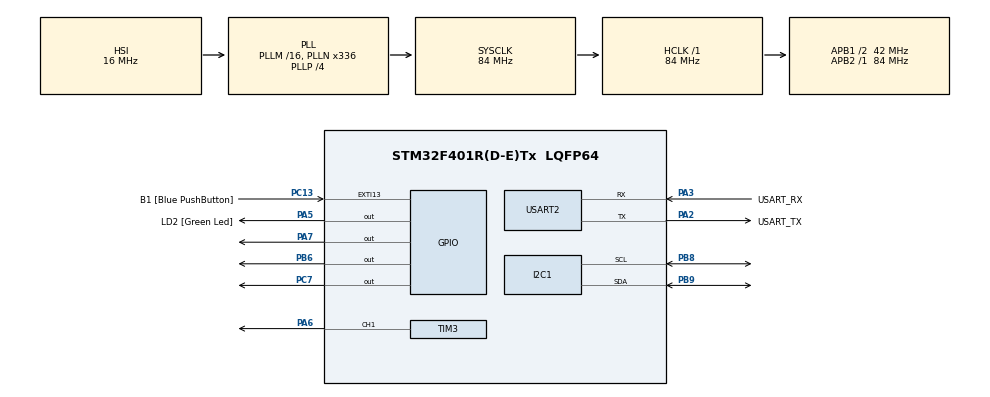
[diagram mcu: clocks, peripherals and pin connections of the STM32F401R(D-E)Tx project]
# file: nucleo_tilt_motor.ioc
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Mcu.Family=STM32F4
Mcu.Name=STM32F401R(D-E)Tx
Mcu.Package=LQFP64
NVIC.PriorityGroup=NVIC_PRIORITYGROUP_4
NVIC.USART2_IRQn=true\:0\:0\:false\:false\:true\:true\:true\:true
PA13.GPIO_Label=TMS
PA13.Mode=Trace_Asynchronous_SW
PA13.Signal=SYS_JTMS-SWDIO
PA14.GPIO_Label=TCK
PA14.Mode=Trace_Asynchronous_SW
PA14.Signal=SYS_JTCK-SWCLK
PA2.GPIO_Label=USART_TX
PA2.GPIO_Mode=GPIO_MODE_AF_PP
PA2.GPIO_PuPd=GPIO_NOPULL
PA2.GPIO_Speed=GPIO_SPEED_FREQ_LOW
PA2.Mode=Asynchronous
PA2.Signal=USART2_TX
PA3.GPIO_Label=USART_RX
PA3.GPIO_Mode=GPIO_MODE_AF_PP
PA3.GPIO_PuPd=GPIO_NOPULL
PA3.GPIO_Speed=GPIO_SPEED_FREQ_LOW
PA3.Mode=Asynchronous
PA3.Signal=USART2_RX
PA5.GPIO_Label=LD2 [Green Led]
PA5.GPIO_Mode=GPIO_MODE_OUTPUT_PP
PA5.GPIO_PuPd=GPIO_NOPULL
PA5.GPIO_Speed=GPIO_SPEED_FREQ_LOW
PA5.Signal=GPIO_Output
PA6.Signal=S_TIM3_CH1
PA7.Signal=GPIO_Output
PB3.GPIO_Label=SWO
PB3.Mode=Trace_Asynchronous_SW
PB3.Signal=SYS_JTDO-SWO
PB6.Signal=GPIO_Output
PB8.GPIO_Pu=GPIO_PULLUP
PB8.Mode=I2C
PB8.Signal=I2C1_SCL
PB9.GPIO_Pu=GPIO_PULLUP
PB9.Mode=I2C
PB9.Signal=I2C1_SDA
PC13-ANTI_TAMP.GPIO_Label=B1 [Blue PushButton]
PC13-ANTI_TAMP.GPIO_ModeDefaultEXTI=GPIO_MODE_IT_FALLING
PC13-ANTI_TAMP.GPIO_PuPd=GPIO_NOPULL
PC13-ANTI_TAMP.Signal=GPXTI13
PC14-OSC32_IN.Mode=LSE-External-Oscillator
PC14-OSC32_IN.Signal=RCC_OSC32_IN
PC15-OSC32_OUT.Mode=LSE-External-Oscillator
PC15-OSC32_OUT.Signal=RCC_OSC32_OUT
PC7.Signal=GPIO_Output
PH0\ -\ OSC_IN.Mode=HSE-External-Clock-Source
PH0\ -\ OSC_IN.Signal=RCC_OSC_IN
PH1\ -\ OSC_OUT.Mode=HSE-External-Clock-Source
PH1\ -\ OSC_OUT.Signal=RCC_OSC_OUT
ProjectManager.HeapSize=0x200
ProjectManager.StackSize=0x400
ProjectManager.TargetToolchain=STM32CubeIDE
RCC.48MHZClocksFreq_Value=48000000
RCC.AHBFreq_Value=84000000
RCC.APB1CLKDivider=RCC_HCLK_DIV2
RCC.APB1Freq_Value=42000000
RCC.APB1TimFreq_Value=84000000
RCC.APB2Freq_Value=84000000
RCC.APB2TimFreq_Value=84000000
RCC.CortexFreq_Value=84000000
RCC.HCLKFreq_Value=84000000
RCC.HSE_VALUE=8000000
RCC.HSI_VALUE=16000000
RCC.PLLN=336
RCC.PLLP=RCC_PLLP_DIV4
RCC.PLLQ=7
RCC.SYSCLKFreq_VALUE=84000000
RCC.SYSCLKSource=RCC_SYSCLKSOURCE_PLLCLK
RCC.VCOOutputFreq_Value=336000000
SH.S_TIM3_CH1.0=TIM3_CH1,PWM Generation1 CH1
TIM3.Channel-PWM\ Generation1\ CH1=TIM_CHANNEL_1
USART2.VirtualMode=VM_ASYNC
board=NUCLEO-F401RE

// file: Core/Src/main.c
/* USER CODE BEGIN Header */
/**
  ******************************************************************************
  * @file           : main.c
  * @brief          : Main program body
  ******************************************************************************
  * @attention
  *
  * Copyright (c) 2026 STMicroelectronics.
  * All rights reserved.
  *
  * This software is licensed under terms that can be found in the LICENSE file
  * in the root directory of this software component.
  * If no LICENSE file comes with this software, it is provided AS-IS.
  *
  ******************************************************************************
  */
/* USER CODE END Header */
#include "main.h"

/* USER CODE BEGIN Includes */
#include <math.h>
#include <stdio.h>
#include <stdlib.h>
#include <string.h>
/* USER CODE END Includes */

/* USER CODE BEGIN PD */
#define ACCEL_LSB_PER_G 16384.0f
#define GYRO_LSB_PER_DPS 131.0f
#define TELEMETRY_PERIOD_MS 100u
#define FILTER_ALPHA 0.98f
#define RAD_TO_DEG 57.29578f
#define MOTOR_PWM_MAX 65535.0f
#define RX_RING_SIZE 128u
#define LINE_SIZE 160u
/* USER CODE END PD */

I2C_HandleTypeDef hi2c1;

TIM_HandleTypeDef htim3;

UART_HandleTypeDef huart2;

/* USER CODE BEGIN PV */
static uint16_t imu_addr = 0;
static float gyro_bias[3] = {0.0f, 0.0f, 0.0f};
static float tilt_deg = 0.0f;
static float motor_duty = 0.0f;
static volatile uint8_t rx_ring[RX_RING_SIZE];
static volatile uint16_t rx_head = 0;
static volatile uint16_t rx_tail = 0;
static volatile uint8_t rx_armed = 0;
static uint8_t rx_byte = 0;
static char line[LINE_SIZE];
static uint16_t line_len = 0;
static uint8_t line_overflow = 0;
/* USER CODE END PV */

void SystemClock_Config(void);
static void MX_GPIO_Init(void);
static void MX_USART2_UART_Init(void);
static void MX_TIM3_Init(void);
static void MX_I2C1_Init(void);

/* USER CODE BEGIN 0 */
static void uart_print(const char *s)
{
  HAL_UART_Transmit(&huart2, (uint8_t *)s, strlen(s), HAL_MAX_DELAY);
}

static void motor_apply(float duty)
{
  motor_duty = duty;
  HAL_GPIO_WritePin(GPIOA, GPIO_PIN_7, GPIO_PIN_SET);
  HAL_GPIO_WritePin(GPIOB, GPIO_PIN_6, GPIO_PIN_RESET);
  __HAL_TIM_SET_COMPARE(&htim3, TIM_CHANNEL_1, (uint32_t)(duty / 100.0f * MOTOR_PWM_MAX));
  HAL_GPIO_WritePin(GPIOC, GPIO_PIN_7, duty > 0.0f ? GPIO_PIN_SET : GPIO_PIN_RESET);
}

static void rx_arm(void)
{
  rx_armed = HAL_UART_Receive_IT(&huart2, &rx_byte, 1) == HAL_OK;
}

static void i2c_recover(void)
{
  GPIO_InitTypeDef scl = {0};
  SET_BIT(hi2c1.Instance->CR1, I2C_CR1_SWRST);
  CLEAR_BIT(hi2c1.Instance->CR1, I2C_CR1_SWRST);
  HAL_I2C_DeInit(&hi2c1);
  scl.Pin = GPIO_PIN_8;
  scl.Mode = GPIO_MODE_OUTPUT_OD;
  scl.Pull = GPIO_NOPULL;
  scl.Speed = GPIO_SPEED_FREQ_LOW;
  HAL_GPIO_Init(GPIOB, &scl);
  for (int i = 0; i < 9; i++)
  {
    HAL_GPIO_WritePin(GPIOB, GPIO_PIN_8, GPIO_PIN_RESET);
    HAL_Delay(1);
    HAL_GPIO_WritePin(GPIOB, GPIO_PIN_8, GPIO_PIN_SET);
    HAL_Delay(1);
  }
  HAL_GPIO_DeInit(GPIOB, GPIO_PIN_8);
  MX_I2C1_Init();
}

static int imu_find(void)
{
  uint8_t wake = 0x00;
  imu_addr = 0;
  if (HAL_I2C_IsDeviceReady(&hi2c1, 0x68 << 1, 2, 20) == HAL_OK)
    imu_addr = 0x68 << 1;
  else if (HAL_I2C_IsDeviceReady(&hi2c1, 0x69 << 1, 2, 20) == HAL_OK)
    imu_addr = 0x69 << 1;
  if (imu_addr == 0)
    return 0;
  if (HAL_I2C_Mem_Write(&hi2c1, imu_addr, 0x6B, I2C_MEMADD_SIZE_8BIT, &wake, 1, 20) != HAL_OK)
  {
    imu_addr = 0;
    return 0;
  }
  HAL_Delay(50);
  return 1;
}

static int imu_read(float accel[3], float gyro[3])
{
  uint8_t raw[14];
  if (imu_addr == 0)
    return 0;
  if (HAL_I2C_Mem_Read(&hi2c1, imu_addr, 0x3B, I2C_MEMADD_SIZE_8BIT, raw, 14, 20) != HAL_OK)
    return 0;
  for (int i = 0; i < 3; i++)
  {
    accel[i] = (int16_t)(raw[2 * i] << 8 | raw[2 * i + 1]) / ACCEL_LSB_PER_G;
    gyro[i] = (int16_t)(raw[8 + 2 * i] << 8 | raw[9 + 2 * i]) / GYRO_LSB_PER_DPS - gyro_bias[i];
  }
  return 1;
}

static void gyro_calibrate(void)
{
  float sum[3] = {0.0f, 0.0f, 0.0f};
  float accel[3];
  float gyro[3];
  int count = 0;
  for (int i = 0; i < 3; i++)
    gyro_bias[i] = 0.0f;
  for (int n = 0; n < 200; n++)
  {
    if (imu_read(accel, gyro))
    {
      for (int i = 0; i < 3; i++)
        sum[i] += gyro[i];
      count++;
    }
    HAL_Delay(5);
  }
  if (count > 0)
    for (int i = 0; i < 3; i++)
      gyro_bias[i] = sum[i] / count;
  if (imu_read(accel, gyro))
    tilt_deg = atan2f(-accel[0], accel[2]) * RAD_TO_DEG;
}

static const char *json_value(const char *src, const char *key)
{
  char pattern[24];
  const char *p;
  snprintf(pattern, sizeof pattern, "\"%s\"", key);
  p = strstr(src, pattern);
  if (p == NULL)
    return NULL;
  p += strlen(pattern);
  while (*p == ' ')
    p++;
  if (*p != ':')
    return NULL;
  p++;
  while (*p == ' ')
    p++;
  return p;
}

static int json_string(const char *src, const char *key, char *out, size_t size)
{
  const char *p = json_value(src, key);
  size_t n = 0;
  if (p == NULL || *p != '"')
    return 0;
  p++;
  while (*p != '\0' && *p != '"' && n + 1 < size)
    out[n++] = *p++;
  if (*p != '"')
    return 0;
  out[n] = '\0';
  return 1;
}

static int json_number(const char *src, const char *key, float *out)
{
  const char *p = json_value(src, key);
  char *end;
  float value;
  if (p == NULL)
    return 0;
  value = strtof(p, &end);
  if (end == p)
    return 0;
  *out = value;
  return 1;
}

static void send_ack(const char *id, const char *error)
{
  char buf[160];
  if (error == NULL)
    snprintf(buf, sizeof buf, "{\"type\":\"ack\",\"id\":\"%s\",\"ok\":true}\r\n", id);
  else
    snprintf(buf, sizeof buf, "{\"type\":\"ack\",\"id\":\"%s\",\"ok\":false,\"error\":\"%s\"}\r\n", id, error);
  uart_print(buf);
}

static void handle_line(const char *text)
{
  char type[16];
  char id[48];
  char name[24];
  char error[48];
  float duty;
  if (!json_string(text, "type", type, sizeof type) || strcmp(type, "command") != 0)
    return;
  if (!json_string(text, "id", id, sizeof id))
    return;
  if (!json_string(text, "name", name, sizeof name))
  {
    send_ack(id, "missing name");
    return;
  }
  if (strcmp(name, "set_motor") == 0)
  {
    if (!json_number(text, "duty", &duty) || duty < 0.0f || duty > 100.0f)
    {
      send_ack(id, "duty must be between 0 and 100");
      return;
    }
    motor_apply(duty);
    send_ack(id, NULL);
  }
  else if (strcmp(name, "stop_motor") == 0)
  {
    motor_apply(0.0f);
    send_ack(id, NULL);
  }
  else
  {
    snprintf(error, sizeof error, "unknown command: %s", name);
    send_ack(id, error);
  }
}

static void poll_commands(void)
{
  while (rx_tail != rx_head)
  {
    char c = (char)rx_ring[rx_tail];
    rx_tail = (rx_tail + 1) % RX_RING_SIZE;
    if (c == '\n' || c == '\r')
    {
      if (line_len > 0 && !line_overflow)
      {
        line[line_len] = '\0';
        handle_line(line);
      }
      line_len = 0;
      line_overflow = 0;
    }
    else if ((uint16_t)(line_len + 1) < LINE_SIZE)
      line[line_len++] = c;
    else
      line_overflow = 1;
  }
  if (!rx_armed)
    rx_arm();
}

static void send_telemetry(const float accel[3], const float gyro[3])
{
  char buf[256];
  snprintf(buf, sizeof buf,
           "{\"type\":\"telemetry\",\"t\":%lu,\"data\":{\"tilt_deg\":%.2f,\"ax\":%.3f,\"ay\":%.3f,\"az\":%.3f,\"gx\":%.2f,\"gy\":%.2f,\"gz\":%.2f,\"motor_duty\":%.1f}}\r\n",
           (unsigned long)HAL_GetTick(), tilt_deg, accel[0], accel[1], accel[2], gyro[0], gyro[1], gyro[2], motor_duty);
  uart_print(buf);
}
/* USER CODE END 0 */

int main(void)
{

  /* MCU Configuration--------------------------------------------------------*/

  /* Reset of all peripherals, Initializes the Flash interface and the Systick. */
  HAL_Init();

  /* Configure the system clock */
  SystemClock_Config();

  /* Initialize all configured peripherals */
  MX_GPIO_Init();
  MX_USART2_UART_Init();
  MX_TIM3_Init();
  MX_I2C1_Init();
  /* USER CODE BEGIN 2 */
  uint32_t next_tick;
  uint32_t last_sample;
  HAL_TIM_PWM_Start(&htim3, TIM_CHANNEL_1);
  motor_apply(0.0f);
  uart_print("\r\nJanus nucleo_tilt_motor\r\n");
  if (imu_find())
  {
    uart_print("IMU found, calibrating gyro, keep the board still\r\n");
    gyro_calibrate();
    uart_print("IMU ready\r\n");
  }
  else
    uart_print("IMU not found at 0x68 or 0x69, check wiring\r\n");
  rx_arm();
  next_tick = HAL_GetTick();
  last_sample = next_tick;
  /* USER CODE END 2 */

  /* Infinite loop */
  while (1)
  {

    /* USER CODE BEGIN 3 */
    poll_commands();
    if ((int32_t)(HAL_GetTick() - next_tick) >= 0)
    {
      uint32_t now = HAL_GetTick();
      float accel[3];
      float gyro[3];
      next_tick += TELEMETRY_PERIOD_MS;
      if ((int32_t)(now - next_tick) >= 0)
        next_tick = now + TELEMETRY_PERIOD_MS;
      if (imu_read(accel, gyro))
      {
        float dt = (now - last_sample) / 1000.0f;
        float accel_tilt = atan2f(-accel[0], accel[2]) * RAD_TO_DEG;
        last_sample = now;
        if (dt > 0.5f)
          tilt_deg = accel_tilt;
        else
          tilt_deg = FILTER_ALPHA * (tilt_deg + gyro[1] * dt) + (1.0f - FILTER_ALPHA) * accel_tilt;
        send_telemetry(accel, gyro);
        HAL_GPIO_TogglePin(LD2_GPIO_Port, LD2_Pin);
      }
      else
      {
        uart_print("IMU read failed, recovering I2C\r\n");
        i2c_recover();
        imu_find();
      }
    }
  }
  /* USER CODE END 3 */
}

void SystemClock_Config(void)
{
  RCC_OscInitTypeDef RCC_OscInitStruct = {0};
  RCC_ClkInitTypeDef RCC_ClkInitStruct = {0};

  /** Configure the main internal regulator output voltage
  */
  __HAL_RCC_PWR_CLK_ENABLE();
  __HAL_PWR_VOLTAGESCALING_CONFIG(PWR_REGULATOR_VOLTAGE_SCALE2);

  /** Initializes the RCC Oscillators according to the specified parameters
  * in the RCC_OscInitTypeDef structure.
  */
  RCC_OscInitStruct.OscillatorType = RCC_OSCILLATORTYPE_HSI;
  RCC_OscInitStruct.HSIState = RCC_HSI_ON;
  RCC_OscInitStruct.HSICalibrationValue = RCC_HSICALIBRATION_DEFAULT;
  RCC_OscInitStruct.PLL.PLLState = RCC_PLL_ON;
  RCC_OscInitStruct.PLL.PLLSource = RCC_PLLSOURCE_HSI;
  RCC_OscInitStruct.PLL.PLLM = 16;
  RCC_OscInitStruct.PLL.PLLN = 336;
  RCC_OscInitStruct.PLL.PLLP = RCC_PLLP_DIV4;
  RCC_OscInitStruct.PLL.PLLQ = 7;
  if (HAL_RCC_OscConfig(&RCC_OscInitStruct) != HAL_OK)
  {
    Error_Handler();
  }

  /** Initializes the CPU, AHB and APB buses clocks
  */
  RCC_ClkInitStruct.ClockType = RCC_CLOCKTYPE_HCLK|RCC_CLOCKTYPE_SYSCLK
                              |RCC_CLOCKTYPE_PCLK1|RCC_CLOCKTYPE_PCLK2;
  RCC_ClkInitStruct.SYSCLKSource = RCC_SYSCLKSOURCE_PLLCLK;
  RCC_ClkInitStruct.AHBCLKDivider = RCC_SYSCLK_DIV1;
  RCC_ClkInitStruct.APB1CLKDivider = RCC_HCLK_DIV2;
  RCC_ClkInitStruct.APB2CLKDivider = RCC_HCLK_DIV1;

  if (HAL_RCC_ClockConfig(&RCC_ClkInitStruct, FLASH_LATENCY_2) != HAL_OK)
  {
    Error_Handler();
  }
}

static void MX_I2C1_Init(void)
{

  hi2c1.Instance = I2C1;
  hi2c1.Init.ClockSpeed = 100000;
  hi2c1.Init.DutyCycle = I2C_DUTYCYCLE_2;
  hi2c1.Init.OwnAddress1 = 0;
  hi2c1.Init.AddressingMode = I2C_ADDRESSINGMODE_7BIT;
  hi2c1.Init.DualAddressMode = I2C_DUALADDRESS_DISABLE;
  hi2c1.Init.OwnAddress2 = 0;
  hi2c1.Init.GeneralCallMode = I2C_GENERALCALL_DISABLE;
  hi2c1.Init.NoStretchMode = I2C_NOSTRETCH_DISABLE;
  if (HAL_I2C_Init(&hi2c1) != HAL_OK)
  {
    Error_Handler();
  }

}

static void MX_TIM3_Init(void)
{

  TIM_MasterConfigTypeDef sMasterConfig = {0};
  TIM_OC_InitTypeDef sConfigOC = {0};

  htim3.Instance = TIM3;
  htim3.Init.Prescaler = 0;
  htim3.Init.CounterMode = TIM_COUNTERMODE_UP;
  htim3.Init.Period = 65535;
  htim3.Init.ClockDivision = TIM_CLOCKDIVISION_DIV1;
  htim3.Init.AutoReloadPreload = TIM_AUTORELOAD_PRELOAD_DISABLE;
  if (HAL_TIM_PWM_Init(&htim3) != HAL_OK)
  {
    Error_Handler();
  }
  sMasterConfig.MasterOutputTrigger = TIM_TRGO_RESET;
  sMasterConfig.MasterSlaveMode = TIM_MASTERSLAVEMODE_DISABLE;
  if (HAL_TIMEx_MasterConfigSynchronization(&htim3, &sMasterConfig) != HAL_OK)
  {
    Error_Handler();
  }
  sConfigOC.OCMode = TIM_OCMODE_PWM1;
  sConfigOC.Pulse = 0;
  sConfigOC.OCPolarity = TIM_OCPOLARITY_HIGH;
  sConfigOC.OCFastMode = TIM_OCFAST_DISABLE;
  if (HAL_TIM_PWM_ConfigChannel(&htim3, &sConfigOC, TIM_CHANNEL_1) != HAL_OK)
  {
    Error_Handler();
  }
  HAL_TIM_MspPostInit(&htim3);

}

static void MX_USART2_UART_Init(void)
{

  huart2.Instance = USART2;
  huart2.Init.BaudRate = 115200;
  huart2.Init.WordLength = UART_WORDLENGTH_8B;
  huart2.Init.StopBits = UART_STOPBITS_1;
  huart2.Init.Parity = UART_PARITY_NONE;
  huart2.Init.Mode = UART_MODE_TX_RX;
  huart2.Init.HwFlowCtl = UART_HWCONTROL_NONE;
  huart2.Init.OverSampling = UART_OVERSAMPLING_16;
  if (HAL_UART_Init(&huart2) != HAL_OK)
  {
    Error_Handler();
  }

}

static void MX_GPIO_Init(void)
{
  GPIO_InitTypeDef GPIO_InitStruct = {0};

  /* GPIO Ports Clock Enable */
  __HAL_RCC_GPIOC_CLK_ENABLE();
  __HAL_RCC_GPIOH_CLK_ENABLE();
  __HAL_RCC_GPIOA_CLK_ENABLE();
  __HAL_RCC_GPIOB_CLK_ENABLE();

  /*Configure GPIO pin Output Level */
  HAL_GPIO_WritePin(GPIOA, LD2_Pin|GPIO_PIN_7, GPIO_PIN_RESET);

  /*Configure GPIO pin Output Level */
  HAL_GPIO_WritePin(GPIOC, GPIO_PIN_7, GPIO_PIN_RESET);

  /*Configure GPIO pin Output Level */
  HAL_GPIO_WritePin(GPIOB, GPIO_PIN_6, GPIO_PIN_RESET);

  /*Configure GPIO pin : B1_Pin */
  GPIO_InitStruct.Pin = B1_Pin;
  GPIO_InitStruct.Mode = GPIO_MODE_IT_FALLING;
  GPIO_InitStruct.Pull = GPIO_NOPULL;
  HAL_GPIO_Init(B1_GPIO_Port, &GPIO_InitStruct);

  /*Configure GPIO pins : LD2_Pin PA7 */
  GPIO_InitStruct.Pin = LD2_Pin|GPIO_PIN_7;
  GPIO_InitStruct.Mode = GPIO_MODE_OUTPUT_PP;
  GPIO_InitStruct.Pull = GPIO_NOPULL;
  GPIO_InitStruct.Speed = GPIO_SPEED_FREQ_LOW;
  HAL_GPIO_Init(GPIOA, &GPIO_InitStruct);

  /*Configure GPIO pin : PC7 */
  GPIO_InitStruct.Pin = GPIO_PIN_7;
  GPIO_InitStruct.Mode = GPIO_MODE_OUTPUT_PP;
  GPIO_InitStruct.Pull = GPIO_NOPULL;
  GPIO_InitStruct.Speed = GPIO_SPEED_FREQ_LOW;
  HAL_GPIO_Init(GPIOC, &GPIO_InitStruct);

  /*Configure GPIO pin : PB6 */
  GPIO_InitStruct.Pin = GPIO_PIN_6;
  GPIO_InitStruct.Mode = GPIO_MODE_OUTPUT_PP;
  GPIO_InitStruct.Pull = GPIO_NOPULL;
  GPIO_InitStruct.Speed = GPIO_SPEED_FREQ_LOW;
  HAL_GPIO_Init(GPIOB, &GPIO_InitStruct);

}

/* USER CODE BEGIN 4 */
void HAL_UART_RxCpltCallback(UART_HandleTypeDef *huart)
{
  uint16_t next;
  if (huart->Instance != USART2)
    return;
  next = (rx_head + 1) % RX_RING_SIZE;
  if (next != rx_tail)
  {
    rx_ring[rx_head] = rx_byte;
    rx_head = next;
  }
  rx_arm();
}

void HAL_UART_ErrorCallback(UART_HandleTypeDef *huart)
{
  if (huart->Instance == USART2)
    rx_armed = 0;
}
/* USER CODE END 4 */

void Error_Handler(void)
{
  __disable_irq();
  while (1)
  {
  }
}
